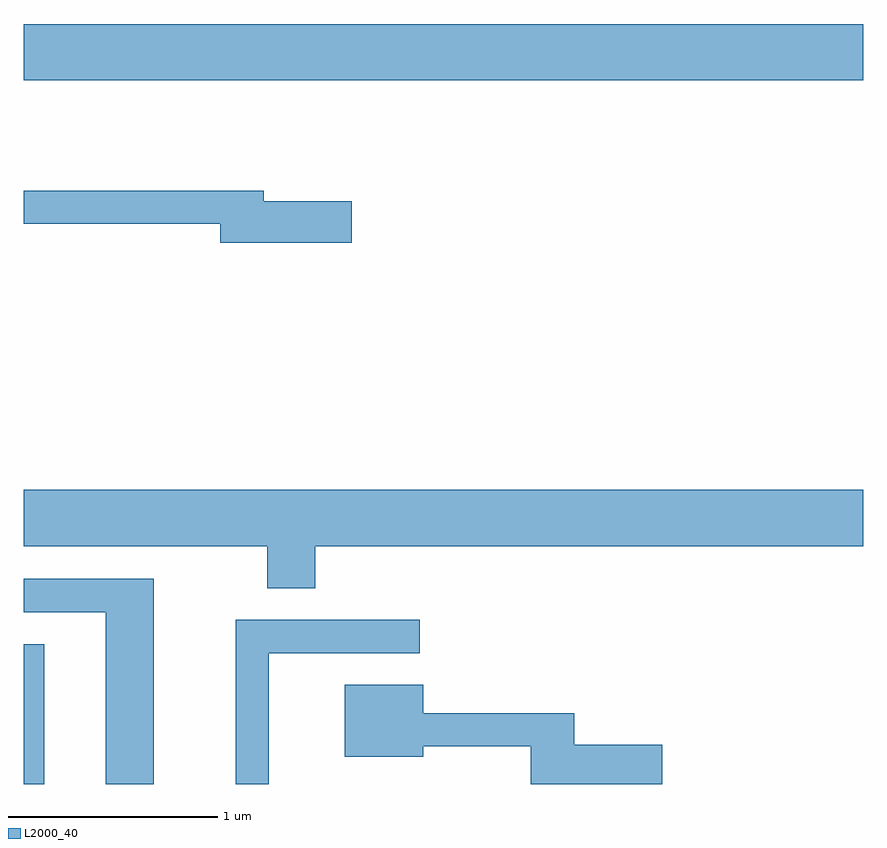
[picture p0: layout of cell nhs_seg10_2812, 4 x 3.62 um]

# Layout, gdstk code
import gdstk
lib = gdstk.Library(unit=1e-6, precision=1e-09)
def R(c, l, rs):  # rectangles x0, y0, x1, y1
    for r in rs: c.add(gdstk.rectangle(r[:2], r[2:], *l))
def P(c, l, *ps):  # polygons
    for p in ps: c.add(gdstk.Polygon(p, *l))
L2000_40 = (2000, 40)

nhs_seg10_2812 = lib.new_cell('nhs_seg10_2812')
R(nhs_seg10_2812, L2000_40, [(267.611,2150.522,267.709,2151.189), (267.611,2153.876,271.611,2154.144)])
P(nhs_seg10_2812, L2000_40, [(269.174,2153.299),(268.754,2153.299),(268.754,2153.349),(267.611,2153.349),(267.611,2153.191),(268.546,2153.191),(268.546,2153.101),(269.174,2153.101)],
  [(268.999,2151.656),(271.611,2151.656),(271.611,2151.924),(267.611,2151.924),(267.611,2151.656),(268.771,2151.656),(268.771,2151.456),(268.999,2151.456)],
  [(268.229,2151.499),(267.611,2151.499),(267.611,2151.341),(268.001,2151.341),(268.001,2150.522),(268.229,2150.522)],
  [(268.779,2151.146),(269.498,2151.146),(269.498,2151.304),(268.621,2151.304),(268.621,2150.522),(268.779,2150.522)],
  [(270.654,2150.709),(270.234,2150.709),(270.234,2150.859),(269.514,2150.859),(269.514,2150.994),(269.141,2150.994),(269.141,2150.651),(269.514,2150.651),(269.514,2150.701),(270.026,2150.701),(270.026,2150.522),(270.654,2150.522)])

lib.write_gds('nhs_seg10_2812.gds')
